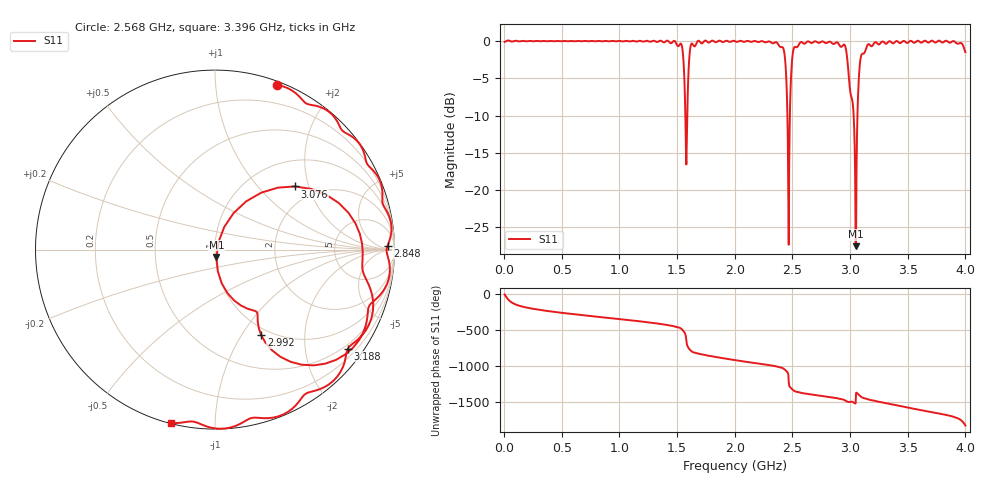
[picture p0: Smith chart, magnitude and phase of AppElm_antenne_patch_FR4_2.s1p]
! TOUCHSTONE file generated by CST MICROWAVE STUDIO
! Date and time: Tue Jun 14 12:33:44 2022
! Project name: AppElm_antenne_patch_FR4.cst
! Parameters = {L=45; W=58.5; e=0.035; h=1.6; lambda=0.190476; ls=120; w0=2.54; w1=0.67755; ws=120; y0=18; y1=23.8}
! Header version: 2018
! Port assignment regex: !\s*Touchstone port\s*([0-9]+)\s*=\s*(CST MWS port|CST DS port)\s*([0-9]+|Zmin|Zmax)\s*\(\"(.*)\"\)(\s*mode\s*([0-9]+))?.*
! Touchstone port assignment:
! Touchstone port 1 = CST MWS port 1 ("")
# GHz S MA R 50
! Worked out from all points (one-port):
!   1000 points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, 4 MHz to 4 GHz, reference 50 ohm
!   lowest |S11| = -27.6 dB at 3.048 GHz (marker M1), VSWR 1.09, Z = 50.7 - j4.17 ohm
!   |S11| at or under -10 dB: 1.571 GHz to 1.588 GHz (16.66 MHz wide, 1.05 % of centre); 2.456 GHz to 2.478 GHz (21.71 MHz wide, 0.88 % of centre); 3.031 GHz to 3.064 GHz (33.06 MHz wide, 1.08 % of centre)
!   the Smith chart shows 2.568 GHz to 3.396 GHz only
!   S11 on the Smith chart (normalised r, x): 2.568 GHz: 0.03, +1.44; 2.848 GHz: 38, +22; 2.992 GHz: 0.91, -1.22; 3.076 GHz: 1.57, +1.63; 3.188 GHz: 0.40, -2.97; 3.396 GHz: 0.00, -0.78
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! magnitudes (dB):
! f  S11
! 4 MHz  -0.1
! 504 MHz  0.0
! 1.004 GHz  0.0
! 1.504 GHz  -0.6
! 1.54 GHz  -0.5
! 1.58 GHz  -16.6
! 1.632 GHz  -0.4
! 2.004 GHz  0.0
! 2.408 GHz  -0.8
! 2.432 GHz  -1.8
! 2.452 GHz  -7.2
! 2.468 GHz  -27.4
! 2.48 GHz  -8.5
! 2.504 GHz  -1.6
! 2.568 GHz  -0.2
! 2.848 GHz  -0.3
! 2.952 GHz  -0.5
! 2.992 GHz  -5.3
! 3.004 GHz  -7.0
! 3.036 GHz  -11.9
! 3.048 GHz  -27.6
! 3.064 GHz  -9.9
! 3.076 GHz  -4.9
! 3.1 GHz  -1.8
! 3.188 GHz  -0.7
! 3.396 GHz  0.0
! 3.504 GHz  -0.2
! 4 GHz  -1.5
